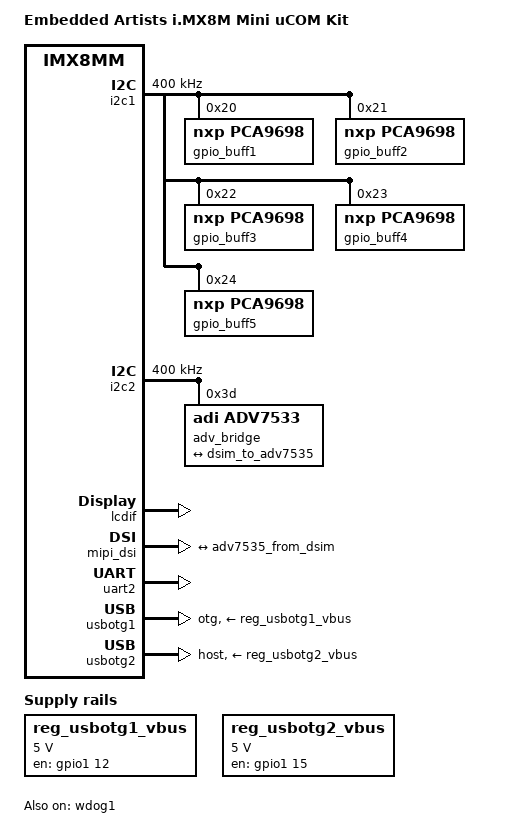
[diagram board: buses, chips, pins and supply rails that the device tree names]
/*
 * Copyright 2020 Embedded Artists AB
 *
 * This program is free software; you can redistribute it and/or
 * modify it under the terms of the GNU General Public License
 * as published by the Free Software Foundation; either version 2
 * of the License, or (at your option) any later version.
 *
 * This program is distributed in the hope that it will be useful,
 * but WITHOUT ANY WARRANTY; without even the implied warranty of
 * MERCHANTABILITY or FITNESS FOR A PARTICULAR PURPOSE.  See the
 * GNU General Public License for more details.
 */

/dts-v1/;

#include "imx8mm-ea-ucom.dtsi"

/ {
	model = "Embedded Artists i.MX8M Mini uCOM Kit";
	compatible = "fsl,imx8mmea-ucom", "fsl,imx8mm";

	chosen {
		bootargs = "console=ttymxc1,115200 earlycon=ec_imx6q,0x30890000,115200";
		stdout-path = &uart2;
	};

	regulators {
		compatible = "simple-bus";
		#address-cells = <1>;
		#size-cells = <0>;

		reg_usbotg1_vbus: regulator-usbotg1 {
			compatible = "regulator-fixed";
			regulator-name = "usbotg_vbus";
			regulator-min-microvolt = <5000000>;
			regulator-max-microvolt = <5000000>;
			gpio = <&gpio1 12 GPIO_ACTIVE_HIGH>;
			off-on-delay = <20000>;
			enable-active-high;
		};
		reg_usbotg2_vbus: regulator-usbotg2 {
			compatible = "regulator-fixed";
			regulator-name = "usbotg_vbus";
			regulator-min-microvolt = <5000000>;
			regulator-max-microvolt = <5000000>;
			gpio = <&gpio1 15 GPIO_ACTIVE_HIGH>;
			off-on-delay = <20000>;
			enable-active-high;
		};
	};
};

&iomuxc {
	pinctrl-names = "default";
	pinctrl-0 = <&pinctrl_test>;

	imx8mmea-ucom-ptp {
		pinctrl_test: tstgrp {
			fsl,pins = <
				/* From: was not in original dts */
				MX8MM_IOMUXC_SD1_DATA6_GPIO2_IO8	0xC6

				/* From: pinctrl_usdhc1: usdhc1grp */
				MX8MM_IOMUXC_SD1_CLK_GPIO2_IO0		0xC6
				MX8MM_IOMUXC_SD1_CMD_GPIO2_IO1		0xC6
				/*MX8MM_IOMUXC_SD1_DATA0_GPIO2_IO2	0xC6 TODO: verify*/
				MX8MM_IOMUXC_SD1_DATA1_GPIO2_IO3	0xC6
				MX8MM_IOMUXC_SD1_DATA2_GPIO2_IO4	0xC6
				MX8MM_IOMUXC_SD1_DATA3_GPIO2_IO5	0xC6

				/* From: pinctrl_usdhc1_gpio: usdhc1grpgpio */
				MX8MM_IOMUXC_SD1_DATA7_GPIO2_IO9	0x1c4

				/* From: pinctrl_usdhc2_gpio: usdhc2grpgpio */
				MX8MM_IOMUXC_SD2_RESET_B_GPIO2_IO19	0xC6
				MX8MM_IOMUXC_SD2_CD_B_GPIO2_IO12	0xC6

				/* From: pinctrl_usdhc2: usdhc2grp */
				MX8MM_IOMUXC_SD2_CLK_GPIO2_IO13		0xC6
				MX8MM_IOMUXC_SD2_CMD_GPIO2_IO14		0xC6
				MX8MM_IOMUXC_SD2_DATA0_GPIO2_IO15	0xC6
				MX8MM_IOMUXC_SD2_DATA1_GPIO2_IO16	0xC6
				MX8MM_IOMUXC_SD2_DATA2_GPIO2_IO17	0xC6
				MX8MM_IOMUXC_SD2_DATA3_GPIO2_IO18	0xC6
				MX8MM_IOMUXC_GPIO1_IO04_GPIO1_IO4	0xC6

				/* From: pinctrl_sai2: sai2grp */
				MX8MM_IOMUXC_SAI2_MCLK_GPIO4_IO27	0xd6
				MX8MM_IOMUXC_SAI2_TXD0_GPIO4_IO26	0xd6
				MX8MM_IOMUXC_SAI2_TXC_GPIO4_IO25	0xd6
				MX8MM_IOMUXC_SAI2_RXD0_GPIO4_IO23	0xd6
				MX8MM_IOMUXC_SAI2_TXFS_GPIO4_IO24	0xd6

				/* From: pinctrl_flexspi0: flexspi0grp */
				MX8MM_IOMUXC_NAND_ALE_GPIO3_IO0		0xC6
				MX8MM_IOMUXC_NAND_CE0_B_GPIO3_IO1	0xC6
				MX8MM_IOMUXC_NAND_DATA00_GPIO3_IO6	0xC6
				MX8MM_IOMUXC_NAND_DATA01_GPIO3_IO7	0xC6
				MX8MM_IOMUXC_NAND_DATA02_GPIO3_IO8	0xC6
				MX8MM_IOMUXC_NAND_DATA03_GPIO3_IO9	0xC6

				/* From: pinctrl_pwm1: pwm1grp */
				MX8MM_IOMUXC_GPIO1_IO01_GPIO1_IO1	0xC6

				/* From: pinctrl_i2c3: i2c3grp */
				MX8MM_IOMUXC_I2C3_SCL_GPIO5_IO18	0xC6
				MX8MM_IOMUXC_I2C3_SDA_GPIO5_IO19	0xC6

				/* From: pinctrl_uart1: uart1grp */
				MX8MM_IOMUXC_UART1_RXD_GPIO5_IO22	0x140
				MX8MM_IOMUXC_UART1_TXD_GPIO5_IO23	0x140
				MX8MM_IOMUXC_UART3_RXD_GPIO5_IO26	0x140
				MX8MM_IOMUXC_UART3_TXD_GPIO5_IO27	0x140

				/* From: pinctrl_exp_conn: expconngrp */
										/* GPIO_H Not Connected */
										/* GPIO_J Not Connected */
				/*MX8MM_IOMUXC_GPIO1_IO00_GPIO1_IO0	0xC6       GPIO_K ADV7535 INT (on adapter board) */
				/*MX8MM_IOMUXC_GPIO1_IO08_GPIO1_IO8	0xC6	   GPIO_P MIPI_DSI_EN */
										/* GPIO_Q Not Connected */
										/* GPIO_R Not Connected */
										/* GPIO_S Not Connected */
										/* GPIO_T Not Connected */
										/* GPIO_U Not Connected */
										/* GPIO_V Not Connected */
										/* GPIO_W Not Connected */
										/* GPIO_X Not Connected */
										/* GPIO_Y Not Connected */
										/* GPIO_Z Not Connected */
										/* GPIO_AA Not Connected */
										/* GPIO_AB Not Connected */
										/* GPIO_AC Not Connected */
										/* GPIO_AD Not Connected */
										/* GPIO_AE Not Connected */
										/* GPIO_AF Not Connected */
										/* GPIO_AG Not Connected */
										/* GPIO_AH Not Connected */

				MX8MM_IOMUXC_SD1_RESET_B_GPIO2_IO10	0xC6
				MX8MM_IOMUXC_SD1_DATA5_GPIO2_IO7	0xC6
				MX8MM_IOMUXC_SD1_DATA4_GPIO2_IO6	0xC6

				/*MX8MM_IOMUXC_SD2_WP_GPIO2_IO20	0xC6	   GPIO_AP MIDI DSI (on adapter board) */
										/* GPIO_AQ Not Connected */
										/* GPIO_AR Not Connected */
										/* GPIO_AS Not Connected */
										/* GPIO_AT Not Connected */
										/* GPIO_AU Not Connected */
										/* GPIO_AV Not Connected */
			>;

		};

		pinctrl_mipi_dsi_en: mipi_dsi_en {
			fsl,pins = <
				MX8MM_IOMUXC_GPIO1_IO08_GPIO1_IO8		0x16
			>;
		};

		pinctrl_uart2: uart2grp {
			fsl,pins = <
				MX8MM_IOMUXC_UART2_RXD_UART2_DCE_RX	0x140
				MX8MM_IOMUXC_UART2_TXD_UART2_DCE_TX	0x140
			>;
		};

		pinctrl_wdog: wdoggrp {
			fsl,pins = <
				MX8MM_IOMUXC_GPIO1_IO02_WDOG1_WDOG_B		0xc6
			>;
		};

		pinctrl_usbotg1: usbotg1grp {
			fsl,pins = <
				MX8MM_IOMUXC_GPIO1_IO12_GPIO1_IO12		0x1d6
				MX8MM_IOMUXC_GPIO1_IO13_USB1_OTG_OC		0x1d6
			>;
		};

		pinctrl_usbotg2: usbotg2grp {
			fsl,pins = <
				/*MX8MM_IOMUXC_GPIO1_IO14_GPIO1_IO14		0x1d6*/
				MX8MM_IOMUXC_GPIO1_IO15_GPIO1_IO15		0x1d6
			>;
		};

	};
};

&flexspi {
	status = "disabled";
};

&i2c1 {
	clock-frequency = <400000>;
	pinctrl-names = "default";
	pinctrl-0 = <&pinctrl_i2c1>;
	status = "okay";

        gpio_buff1: pca9698@20 {
                compatible = "nxp,pca9698";
                reg = <0x20>;
                gpio-controller;
                #gpio-cells = <2>;
        };
        gpio_buff2: pca9698@21 {
                compatible = "nxp,pca9698";
                reg = <0x21>;
                gpio-controller;
                #gpio-cells = <2>;
        };
        gpio_buff3: pca9698@22 {
                compatible = "nxp,pca9698";
                reg = <0x22>;
                gpio-controller;
                #gpio-cells = <2>;
        };
        gpio_buff4: pca9698@23 {
                compatible = "nxp,pca9698";
                reg = <0x23>;
                gpio-controller;
                #gpio-cells = <2>;
        };
        gpio_buff5: pca9698@24 {
                compatible = "nxp,pca9698";
                reg = <0x24>;
                gpio-controller;
                #gpio-cells = <2>;
        };
};

&i2c2 {
	clock-frequency = <400000>;
	pinctrl-names = "default";
	pinctrl-0 = <&pinctrl_i2c2>;
	status = "okay";

	adv_bridge: adv7535@3d {
		compatible = "adi,adv7533";
		reg = <0x3d>;
		adi,dsi-lanes = <4>;
		status = "okay";

		port {
			adv7535_from_dsim: endpoint {
				remote-endpoint = <&dsim_to_adv7535>;
			};
		};
	};
};

&i2c3 {
	status = "disabled";
};

&lcdif {
	status = "okay";
};

&mipi_dsi {
	status = "okay";

	port@1 {
		dsim_to_adv7535: endpoint {
			remote-endpoint = <&adv7535_from_dsim>;
		};
	};
};

&pcie0{
	status = "disabled";
};

&uart1 { /* Bluetooth UART */
	status = "disabled";
};

&uart2 { /* Console */
	pinctrl-names = "default";
	pinctrl-0 = <&pinctrl_uart2>;
	status = "okay";
};

&uart3 { /* Disabled as pins are used by Bluetooth for RTS/CTS */
	status = "disabled";
};

&usbotg1 {
	dr_mode = "otg";
	picophy,pre-emp-curr-control = <3>;
	picophy,dc-vol-level-adjust = <7>;
	status = "okay";

	pinctrl-names = "default";
	pinctrl-0 = <&pinctrl_usbotg1>;
	vbus-supply = <&reg_usbotg1_vbus>;
};

&usbotg2 {
	dr_mode = "host";
	picophy,pre-emp-curr-control = <3>;
	picophy,dc-vol-level-adjust = <7>;
	status = "okay";

	pinctrl-names = "default";
	pinctrl-0 = <&pinctrl_usbotg2>;
	vbus-supply = <&reg_usbotg2_vbus>;
};

/* M.2 connector */
&usdhc1 {
	status = "disabled";
};

/* uSD connector on carrier board */
&usdhc2 {
	status = "disabled";
};

&wdog1 {
	pinctrl-names = "default";
	pinctrl-0 = <&pinctrl_wdog>;
	fsl,ext-reset-output;
	status = "okay";
};

&pwm1 {
	status = "disabled";
};

